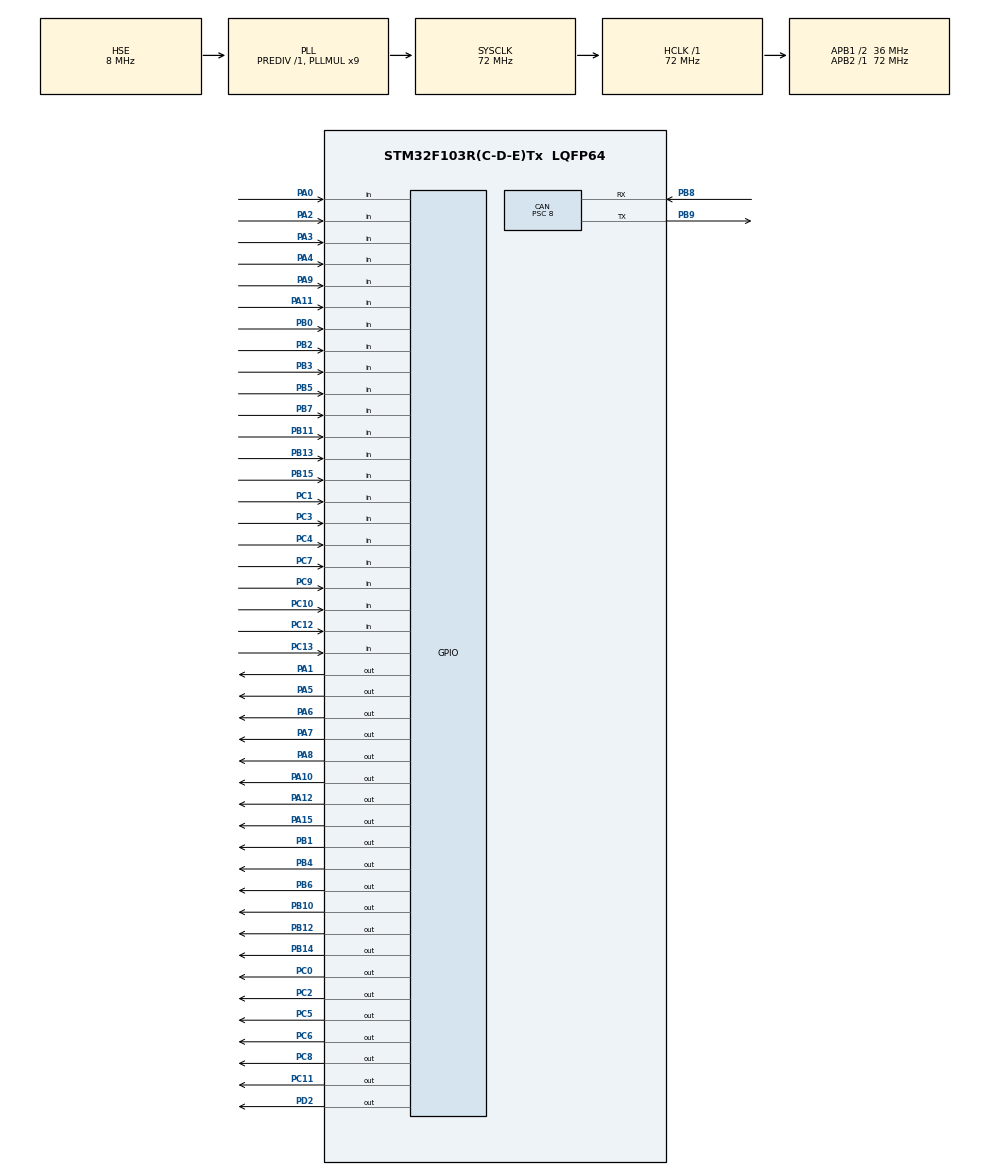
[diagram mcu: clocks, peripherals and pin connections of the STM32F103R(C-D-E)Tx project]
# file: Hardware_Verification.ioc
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CAN.ABOM=ENABLE
CAN.BS1=CAN_BS1_4TQ
CAN.BS2=CAN_BS2_4TQ
CAN.CalculateBaudRate=500000
CAN.CalculateTimeBit=2000
CAN.CalculateTimeQuantum=222.22222222222223
CAN.NART=ENABLE
CAN.Prescaler=8
Mcu.Family=STM32F1
Mcu.Name=STM32F103R(C-D-E)Tx
Mcu.Package=LQFP64
NVIC.CAN1_RX1_IRQn=true\:0\:0\:false\:false\:true\:true\:true\:true
NVIC.CAN1_SCE_IRQn=true\:0\:0\:false\:false\:true\:true\:true\:true
NVIC.PriorityGroup=NVIC_PRIORITYGROUP_4
NVIC.USB_HP_CAN1_TX_IRQn=true\:0\:0\:false\:false\:true\:true\:true\:true
NVIC.USB_LP_CAN1_RX0_IRQn=true\:0\:0\:false\:false\:true\:true\:true\:true
PA0-WKUP.GPIO_PuPd=GPIO_NOPULL
PA0-WKUP.Signal=GPIO_Input
PA1.PinState=GPIO_PIN_SET
PA1.Signal=GPIO_Output
PA10.PinState=GPIO_PIN_RESET
PA10.Signal=GPIO_Output
PA11.GPIO_PuPd=GPIO_PULLUP
PA11.Signal=GPIO_Input
PA12.PinState=GPIO_PIN_RESET
PA12.Signal=GPIO_Output
PA13.Mode=Serial_Wire
PA13.Signal=SYS_JTMS-SWDIO
PA14.Mode=Serial_Wire
PA14.Signal=SYS_JTCK-SWCLK
PA15.PinState=GPIO_PIN_RESET
PA15.Signal=GPIO_Output
PA2.GPIO_PuPd=GPIO_PULLDOWN
PA2.Signal=GPIO_Input
PA3.GPIO_PuPd=GPIO_PULLUP
PA3.Signal=GPIO_Input
PA4.GPIO_PuPd=GPIO_PULLDOWN
PA4.Signal=GPIO_Input
PA5.PinState=GPIO_PIN_RESET
PA5.Signal=GPIO_Output
PA6.Signal=GPIO_Output
PA7.PinState=GPIO_PIN_RESET
PA7.Signal=GPIO_Output
PA8.PinState=GPIO_PIN_RESET
PA8.Signal=GPIO_Output
PA9.GPIO_PuPd=GPIO_PULLUP
PA9.Signal=GPIO_Input
PB0.GPIO_PuPd=GPIO_PULLDOWN
PB0.Signal=GPIO_Input
PB1.Signal=GPIO_Output
PB10.Signal=GPIO_Output
PB11.GPIO_PuPd=GPIO_PULLUP
PB11.Signal=GPIO_Input
PB12.Signal=GPIO_Output
PB13.GPIO_PuPd=GPIO_PULLUP
PB13.Signal=GPIO_Input
PB14.Signal=GPIO_Output
PB15.GPIO_PuPd=GPIO_PULLUP
PB15.Signal=GPIO_Input
PB2.GPIO_PuPd=GPIO_PULLDOWN
PB2.Signal=GPIO_Input
PB3.GPIO_PuPd=GPIO_PULLUP
PB3.Signal=GPIO_Input
PB4.Signal=GPIO_Output
PB5.GPIO_PuPd=GPIO_PULLUP
PB5.Signal=GPIO_Input
PB6.Signal=GPIO_Output
PB7.GPIO_PuPd=GPIO_PULLUP
PB7.Signal=GPIO_Input
PB8.GPIO_Mode=GPIO_MODE_INPUT
PB8.GPIO_PuPd=GPIO_PULLUP
PB8.Mode=CAN_Activate
PB8.Signal=CAN_RX
PB9.Mode=CAN_Activate
PB9.Signal=CAN_TX
PC0.PinState=GPIO_PIN_RESET
PC0.Signal=GPIO_Output
PC1.GPIO_PuPd=GPIO_PULLUP
PC1.Signal=GPIO_Input
PC10.GPIO_PuPd=GPIO_PULLUP
PC10.Signal=GPIO_Input
PC11.PinState=GPIO_PIN_RESET
PC11.Signal=GPIO_Output
PC12.GPIO_PuPd=GPIO_PULLUP
PC12.Signal=GPIO_Input
PC13-TAMPER-RTC.GPIO_PuPd=GPIO_PULLDOWN
PC13-TAMPER-RTC.Signal=GPIO_Input
PC14-OSC32_IN.Mode=LSE-External-Oscillator
PC14-OSC32_IN.Signal=RCC_OSC32_IN
PC15-OSC32_OUT.Mode=LSE-External-Oscillator
PC15-OSC32_OUT.Signal=RCC_OSC32_OUT
PC2.PinState=GPIO_PIN_RESET
PC2.Signal=GPIO_Output
PC3.GPIO_PuPd=GPIO_PULLUP
PC3.Signal=GPIO_Input
PC4.GPIO_PuPd=GPIO_PULLDOWN
PC4.Signal=GPIO_Input
PC5.GPIO_PuPd=GPIO_NOPULL
PC5.PinState=GPIO_PIN_RESET
PC5.Signal=GPIO_Output
PC6.PinState=GPIO_PIN_RESET
PC6.Signal=GPIO_Output
PC7.GPIO_PuPd=GPIO_PULLUP
PC7.Signal=GPIO_Input
PC8.PinState=GPIO_PIN_RESET
PC8.Signal=GPIO_Output
PC9.GPIO_PuPd=GPIO_PULLUP
PC9.Signal=GPIO_Input
PD0-OSC_IN.Mode=HSE-External-Oscillator
PD0-OSC_IN.Signal=RCC_OSC_IN
PD1-OSC_OUT.Mode=HSE-External-Oscillator
PD1-OSC_OUT.Signal=RCC_OSC_OUT
PD2.PinState=GPIO_PIN_RESET
PD2.Signal=GPIO_Output
ProjectManager.HeapSize=0x200
ProjectManager.StackSize=0x400
ProjectManager.TargetToolchain=STM32CubeIDE
RCC.AHBFreq_Value=72000000
RCC.APB1CLKDivider=RCC_HCLK_DIV2
RCC.APB1Freq_Value=36000000
RCC.APB1TimFreq_Value=72000000
RCC.APB2Freq_Value=72000000
RCC.APB2TimFreq_Value=72000000
RCC.HCLKFreq_Value=72000000
RCC.PLLMUL=RCC_PLL_MUL9
RCC.PLLSourceVirtual=RCC_PLLSOURCE_HSE
RCC.SYSCLKFreq_VALUE=72000000
RCC.SYSCLKSource=RCC_SYSCLKSOURCE_PLLCLK
RCC.USBFreq_Value=72000000
board=custom

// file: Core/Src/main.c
/* USER CODE BEGIN Header */
/**
  ******************************************************************************
  * @file           : main.c
  * @brief          : Main program body
  ******************************************************************************
  * @attention
  *
  * Copyright (c) 2025 STMicroelectronics.
  * All rights reserved.
  *
  * This software is licensed under terms that can be found in the LICENSE file
  * in the root directory of this software component.
  * If no LICENSE file comes with this software, it is provided AS-IS.
  *
  ******************************************************************************
  */
/* USER CODE END Header */
#include "main.h"
#include "can.h"
#include "gpio.h"

/* USER CODE BEGIN PV */

PinConfig pins_to_check_VCC[] = {
    {GPIOC, GPIO_PIN_13, "PC13",54, 13},
    {GPIOA, GPIO_PIN_4,  "PA4",52, 4},
    {GPIOA, GPIO_PIN_0,  "PA0", 52,0}	//Pins to check if shorted to VCC

};

PinConfig pins_to_check_GND[] = {
	{GPIOC, GPIO_PIN_3,  "PC3", 54, 3},	//Pins to check if shorted to GND
    {GPIOA, GPIO_PIN_3,  "PA3", 52, 3},
    {GPIOB, GPIO_PIN_11, "PB11", 53,  11}

};

PinConfig_full pins_full[] = {
    {GPIOC, GPIO_PIN_0,  "PC0",  1, 54, 0},
    {GPIOC, GPIO_PIN_1,  "PC1",  0, 54, 1},
    {GPIOC, GPIO_PIN_2,  "PC2",  1, 54, 2},
    {GPIOC, GPIO_PIN_3,  "PC3",  0, 54, 3},

    {GPIOA, GPIO_PIN_0,  "PA0",  0, 52, 0},
    {GPIOA, GPIO_PIN_1,  "PA1",  1, 52, 1},
    {GPIOA, GPIO_PIN_2,  "PA2",  0, 52, 2},
    {GPIOA, GPIO_PIN_3,  "PA3",  0, 52, 3},
    {GPIOA, GPIO_PIN_4,  "PA4",  0, 52, 4},
    {GPIOA, GPIO_PIN_5,  "PA5",  1, 52, 5},
    {GPIOA, GPIO_PIN_6,  "PA6",  0, 52, 6},
    {GPIOA, GPIO_PIN_7,  "PA7",  1, 52, 7},

    {GPIOC, GPIO_PIN_4,  "PC4",  0, 54, 4},
    {GPIOC, GPIO_PIN_5,  "PC5",  1, 54, 5},

    {GPIOB, GPIO_PIN_0,  "PB0",  0, 53, 0},
    {GPIOB, GPIO_PIN_1,  "PB1",  1, 53, 1},
    {GPIOB, GPIO_PIN_2,  "PB2",  0, 53, 2},
    {GPIOB, GPIO_PIN_10, "PB10", 1, 53, 10},
    {GPIOB, GPIO_PIN_11, "PB11", 0, 53, 11},
    {GPIOB, GPIO_PIN_12, "PB12", 1, 53, 12},		// Pins to check if shorted between other GPIOs
    {GPIOB, GPIO_PIN_13, "PB13", 0, 53, 13},
    {GPIOB, GPIO_PIN_14, "PB14", 1, 53, 14},
    {GPIOB, GPIO_PIN_15, "PB15", 0, 53, 15},

    {GPIOC, GPIO_PIN_6,  "PC6",  1, 54, 6},
    {GPIOC, GPIO_PIN_7,  "PC7",  0, 54, 7},
    {GPIOC, GPIO_PIN_8,  "PC8",  1, 54, 8},
    {GPIOC, GPIO_PIN_9,  "PC9",  0, 54, 9},

    {GPIOA, GPIO_PIN_8,  "PA8",  1, 52, 8},
    {GPIOA, GPIO_PIN_9,  "PA9",  0, 52, 9},
    {GPIOA, GPIO_PIN_10, "PA10", 1, 52, 10},
    {GPIOA, GPIO_PIN_11, "PA11", 0, 52, 11},
    {GPIOA, GPIO_PIN_12, "PA12", 1, 52, 12},
    {GPIOA, GPIO_PIN_15, "PA15", 1, 52, 15},

    {GPIOC, GPIO_PIN_10, "PC10", 0, 54, 10},
    {GPIOC, GPIO_PIN_11, "PC11", 1, 54, 11},
    {GPIOC, GPIO_PIN_12, "PC12", 0, 54, 12},

    {GPIOD, GPIO_PIN_2,  "PD2",  1, 55, 2},

    {GPIOB, GPIO_PIN_3,  "PB3",  0, 53, 3},
    {GPIOB, GPIO_PIN_4,  "PB4",  1, 53, 4},
    {GPIOB, GPIO_PIN_5,  "PB5",  0, 53, 5},
    {GPIOB, GPIO_PIN_6,  "PB6",  1, 53, 6},
    {GPIOB, GPIO_PIN_7,  "PB7",  0, 53, 7}
};

const int PINS_COUNT = sizeof(pins_to_check_VCC)/ sizeof(pins_to_check_VCC[0]); //Checks for length of array in the VCC/GND Checks
const int PINS_ALL_COUNT = sizeof(pins_full) / sizeof(pins_full[0]); //Checks for length of array in the GPIO checks

int MAX_PINS = 64;
volatile uint8_t datacheck = 0;
CAN_RxHeaderTypeDef   RxHeader;
uint8_t               RxData[8];

/* USER CODE END PV */

void SystemClock_Config(void);

/* USER CODE BEGIN 0 */

void HAL_CAN_RxFifo0MsgPendingCallback(CAN_HandleTypeDef *hcan) //Callback routine when interrupt occurs
{

  if (HAL_CAN_GetRxMessage(hcan, CAN_RX_FIFO0, &RxHeader, RxData) != HAL_OK)
  {
    Error_Handler();
  }
  if ((RxHeader.StdId == CAN_RX_ID))
 	    {
 	  	  datacheck=1;			// Turns on debug LED in the while loop
 	    }

}

/* USER CODE END 0 */

int main(void)
{

  /* MCU Configuration--------------------------------------------------------*/

  /* Reset of all peripherals, Initializes the Flash interface and the Systick. */
  HAL_Init();

  /* Configure the system clock */
  SystemClock_Config();

  /* Initialize all configured peripherals */
  MX_GPIO_Init();
  MX_CAN_Init();

  /* Infinite loop */
  while (1)
  {

    /* USER CODE BEGIN 3 */

	  HAL_Delay(2500);

	  if (datacheck)
	    {
	  	  HAL_GPIO_WritePin(GPIOA, GPIO_PIN_6, GPIO_PIN_SET);		// Sets Debug LED
	    }

	   for(int i = 0; i<PINS_COUNT; i++){		//Pins to check for shorts between GPIO and VCC
	 	  uint8_t state = HAL_GPIO_ReadPin(pins_to_check_VCC[i].port, pins_to_check_VCC[i].pin);
	 	  if( state == 1 ) {
	 		  uint8_t pin_number = pins_to_check_VCC[i].number;
	 		  uint8_t port = pins_to_check_VCC[i].port_number;
	 		  int VCC_ID = 0;
	 		  CAN_tx_transmit_msg(pin_number, port, VCC_ID);
	 		  HAL_Delay(2500);
	 	  }
	   }

	   for(int i = 0; i< PINS_COUNT; i++){		//Pins to check for shorts between GPIO and GND
	 	  uint8_t state = HAL_GPIO_ReadPin(pins_to_check_GND[i].port, pins_to_check_GND[i].pin);
	 	  if( state == 0 ) {
	 		 uint8_t pin_number = pins_to_check_GND[i].number;
	 		 uint8_t port = pins_to_check_GND[i].port_number;
	 		 int GND_ID = 1;
	 		  CAN_tx_transmit_msg(pin_number, port, GND_ID);
	 		  HAL_Delay(2500);
	 	  }
	   }

	  uint8_t base[MAX_PINS];

	  	for(int i = 0; i<PINS_ALL_COUNT; i++) {
	  		base[i] = HAL_GPIO_ReadPin(pins_full[i].port, pins_full[i].pin); //All pins are read to this array
	  	}

	  	for (int i = 0; i<PINS_ALL_COUNT; i++) {	//Nested loop to check shorts between GPIO pins

	  		if(pins_full[i].mode == 1) { //If pin is in write mode

	  			//Outputs High - Checks shorts between pins with Pull-down
	  			HAL_GPIO_WritePin(pins_full[i].port, pins_full[i].pin, GPIO_PIN_SET);
	  			HAL_Delay(10);

	  			for (int j = 0; j<PINS_ALL_COUNT; j++) if( j!= i) {
	  				uint8_t in_value = HAL_GPIO_ReadPin(pins_full[j].port, pins_full[j].pin);
	  				if(base[j] == 0 && in_value == 1){ //if statement checks if values being read changed
	  					  uint8_t pin_number = pins_full[j].number;
	  					  uint8_t port = pins_full[j].port_number;
	  					  int GPIO_ID=2;
	  						  CAN_tx_transmit_msg(pin_number, port, GPIO_ID);
	  						  HAL_Delay(2500);
	  				}
	  			}

	  			//Outputs Low  - Checks shorts between pins with Pull-up
	  			HAL_GPIO_WritePin(pins_full[i].port, pins_full[i].pin, GPIO_PIN_RESET);
	  			HAL_Delay(10);

	  			for (int j = 0; j<PINS_ALL_COUNT; j++) if( j!= i) {
	  				uint8_t in_value = HAL_GPIO_ReadPin(pins_full[j].port, pins_full[j].pin);
	  				if(base[j] == 1 && in_value == 0){ //if statement checks if values being read changed
	  					  uint8_t pin_number = pins_full[j].number;
	  					  uint8_t port = pins_full[j].port_number;
	  					  int GPIO_ID=2;
	  						  CAN_tx_transmit_msg(pin_number, port, GPIO_ID);
	  						  HAL_Delay(2500);

	  				}
	  			}

	  		}

	  	}

  }
  /* USER CODE END 3 */
}

void SystemClock_Config(void)
{
  RCC_OscInitTypeDef RCC_OscInitStruct = {0};
  RCC_ClkInitTypeDef RCC_ClkInitStruct = {0};

  /** Initializes the RCC Oscillators according to the specified parameters
  * in the RCC_OscInitTypeDef structure.
  */
  RCC_OscInitStruct.OscillatorType = RCC_OSCILLATORTYPE_HSE;
  RCC_OscInitStruct.HSEState = RCC_HSE_ON;
  RCC_OscInitStruct.HSEPredivValue = RCC_HSE_PREDIV_DIV1;
  RCC_OscInitStruct.HSIState = RCC_HSI_ON;
  RCC_OscInitStruct.PLL.PLLState = RCC_PLL_ON;
  RCC_OscInitStruct.PLL.PLLSource = RCC_PLLSOURCE_HSE;
  RCC_OscInitStruct.PLL.PLLMUL = RCC_PLL_MUL9;
  if (HAL_RCC_OscConfig(&RCC_OscInitStruct) != HAL_OK)
  {
    Error_Handler();
  }

  /** Initializes the CPU, AHB and APB buses clocks
  */
  RCC_ClkInitStruct.ClockType = RCC_CLOCKTYPE_HCLK|RCC_CLOCKTYPE_SYSCLK
                              |RCC_CLOCKTYPE_PCLK1|RCC_CLOCKTYPE_PCLK2;
  RCC_ClkInitStruct.SYSCLKSource = RCC_SYSCLKSOURCE_PLLCLK;
  RCC_ClkInitStruct.AHBCLKDivider = RCC_SYSCLK_DIV1;
  RCC_ClkInitStruct.APB1CLKDivider = RCC_HCLK_DIV2;
  RCC_ClkInitStruct.APB2CLKDivider = RCC_HCLK_DIV1;

  if (HAL_RCC_ClockConfig(&RCC_ClkInitStruct, FLASH_LATENCY_2) != HAL_OK)
  {
    Error_Handler();
  }
}

void Error_Handler(void)
{
  __disable_irq();
  while (1)
  {
  }
}
